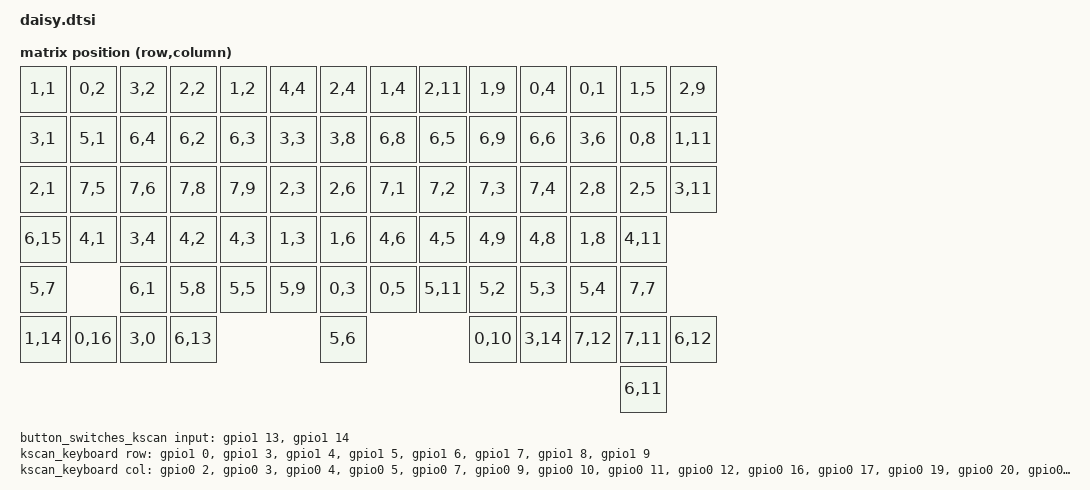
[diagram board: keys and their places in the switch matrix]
/*
 * Copyright (c) 2022 The ZMK Contributors
 *
 * SPDX-License-Identifier: MIT
 */

#include <dt-bindings/led/led.h>
#include <dt-bindings/zmk/matrix_transform.h>
#include "daisy-layouts.dtsi"

/ {
    touchpad_input: touchpad_input {
        compatible = "zmk,input-listener";
        device = <&touchpad>;
    };
    matrix_transform: matrix_transform {
        compatible = "zmk,matrix-transform";
        rows = <8>;
        columns = <18>;

        // (row, col)
        // RC(8, 0) RC(8, 1)
        map = <
        RC(1,1)  RC(0,2)  RC(3,2)  RC(2,2)  RC(1,2)  RC(4,4)  RC(2,4)  RC(1,4)  RC(2,11) RC(1,9)  RC(0,4)  RC(0,1)  RC(1,5)  RC(2,9)
        RC(3,1)  RC(5,1)  RC(6,4)  RC(6,2)  RC(6,3)  RC(3,3)  RC(3,8)  RC(6,8)  RC(6,5)  RC(6,9)  RC(6,6)  RC(3,6)  RC(0,8)  RC(1,11)
        RC(2,1)  RC(7,5)  RC(7,6)  RC(7,8)  RC(7,9)  RC(2,3)  RC(2,6)  RC(7,1)  RC(7,2) RC(7,3)   RC(7,4)  RC(2,8)  RC(2,5)  RC(3,11)
        RC(6,15) RC(4,1)  RC(3,4)  RC(4,2)  RC(4,3)  RC(1,3)  RC(1,6)  RC(4,6)  RC(4,5)  RC(4,9)  RC(4,8)  RC(1,8)  RC(4,11)
        RC(5,7)           RC(6,1)  RC(5,8)  RC(5,5)  RC(5,9)  RC(0,3)  RC(0,5)  RC(5,11) RC(5,2)  RC(5,3)  RC(5,4)  RC(7,7)
        RC(1,14) RC(0,16) RC(3,0)  RC(6,13)                   RC(5,6)                    RC(0,10) RC(3,14) RC(7,12) RC(7,11) RC(6,12)
                                                                                                                    RC(6,11)
        >;
    };

    kscan_composite: kscan_composite {
        compatible = "zmk,kscan-composite";
        rows = <9>;
        columns = <18>;

        direct {
            kscan = <&button_switches_kscan>;
            // Shift it after the keyboard scan
            row-offset = <8>;
        };

        matrix {
            kscan = <&kscan_keyboard>;
        };
    };

    button_switches_kscan: kscan_direct {
        compatible = "zmk,kscan-gpio-direct";
        wakeup-source;
        input-gpios
            // Has external pullup on PCB
            = <&gpio1 13 (GPIO_ACTIVE_LOW)>
            // Bistable switch with low and high position
            , <&gpio1 14 (GPIO_ACTIVE_LOW)>
            ;
    };

    kscan_keyboard: kscan_matrix {
        compatible = "zmk,kscan-gpio-matrix";
        wakeup-source;

        diode-direction = "col2row";

	// UART on DK: P0.05, P0.06, P0.07, and P0.08
	// NFC on DK: P0.09 and P0.10
	// Buttons and LEDs on DK: P0.11–P0.16 and P0.24–P0.25
        col-gpios
        = <&gpio0  2 GPIO_ACTIVE_HIGH> // KSO0
        , <&gpio0  3 GPIO_ACTIVE_HIGH> // KSO1
        , <&gpio0  4 GPIO_ACTIVE_HIGH> // KSO2
        , <&gpio0  5 GPIO_ACTIVE_HIGH> // KSO3 UART
        , <&gpio0  7 GPIO_ACTIVE_HIGH> // KSO4 UART
        , <&gpio0  9 GPIO_ACTIVE_HIGH> // KSO5 NFC
        , <&gpio0 10 GPIO_ACTIVE_HIGH> // KSO6 NFC
        , <&gpio0 11 GPIO_ACTIVE_HIGH> // KSO7 Button 1
        , <&gpio0 12 GPIO_ACTIVE_HIGH> // KSO8 Button 2
        , <&gpio0 16 GPIO_ACTIVE_HIGH> // KSO9 LED 4
        , <&gpio0 17 GPIO_ACTIVE_HIGH> // KS10 QSPI CS
        , <&gpio0 19 GPIO_ACTIVE_HIGH> // KS11 QSPI SCLK
        , <&gpio0 20 GPIO_ACTIVE_HIGH> // KS12 QSPI_DIO0
        , <&gpio0 21 GPIO_ACTIVE_HIGH> // KS13 QSPI_DIO1
        , <&gpio0 22 GPIO_ACTIVE_HIGH> // KS14 QSPI_DIO2
        , <&gpio0 23 GPIO_ACTIVE_HIGH> // KS15 QSPI_DIO3
        , <&gpio0 24 GPIO_ACTIVE_HIGH> // KS16 Button 3
        , <&gpio0 25 GPIO_ACTIVE_HIGH> // KS17 Button 4
        ;

        row-gpios
        = <&gpio1  0 (GPIO_ACTIVE_HIGH | GPIO_PULL_DOWN)> // KSI0 TRACEDATA[0]
        , <&gpio1  3 (GPIO_ACTIVE_HIGH | GPIO_PULL_DOWN)> // KSI1
        , <&gpio1  4 (GPIO_ACTIVE_HIGH | GPIO_PULL_DOWN)> // KSI2
        , <&gpio1  5 (GPIO_ACTIVE_HIGH | GPIO_PULL_DOWN)> // KSI3
        , <&gpio1  6 (GPIO_ACTIVE_HIGH | GPIO_PULL_DOWN)> // KSI4
        , <&gpio1  7 (GPIO_ACTIVE_HIGH | GPIO_PULL_DOWN)> // KSI5
        , <&gpio1  8 (GPIO_ACTIVE_HIGH | GPIO_PULL_DOWN)> // KSI6
        , <&gpio1  9 (GPIO_ACTIVE_HIGH | GPIO_PULL_DOWN)> // KSI7 TRACEDATA[3]
        ;
    };

    leds {
        compatible = "gpio-leds";
	/* Capslock LED on keyboard membrane. Has pulldown on main PCB */
        caps_led: led_3 {
            gpios = <&gpio0 15 GPIO_ACTIVE_HIGH>;
        };
    };
};

&matrix_physical_layout {
    kscan = <&kscan_keyboard>;
    transform = <&matrix_transform>;
};
